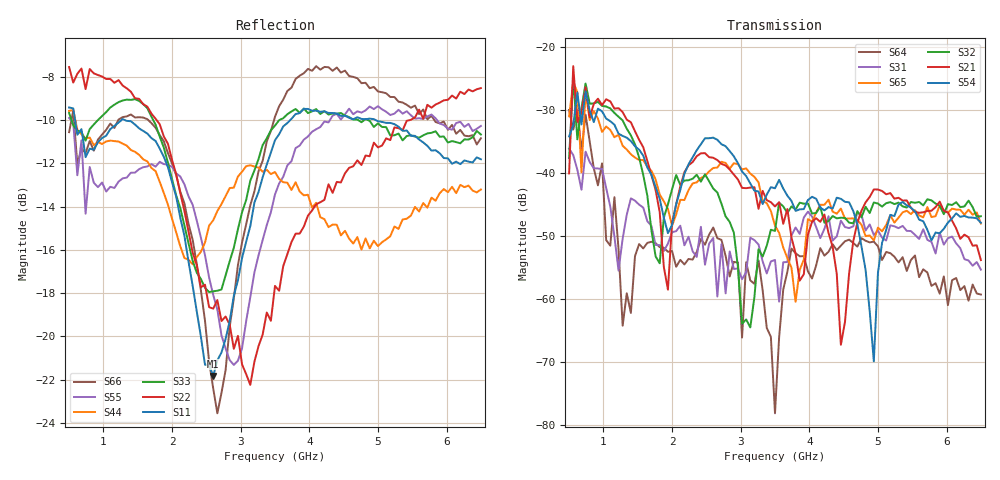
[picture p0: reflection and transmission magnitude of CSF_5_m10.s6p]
!Keysight Technologies,M9804A,MY58100912,A.14.10.03
!Date: Thursday, April 27, 2023 10:28:33
!Correction: S11(C  6-Port  )
!S12(C  6-Port  )
!S13(C  6-Port  )
!S14(C  6-Port  )
!S15(C  6-Port  )
!S16(C  6-Port  )
!S21(C  6-Port  )
!S22(C  6-Port  )
!S23(C  6-Port  )
!S24(C  6-Port  )
!S25(C  6-Port  )
!S26(C  6-Port  )
!S31(C  6-Port  )
!S32(C  6-Port  )
!S33(C  6-Port  )
!S34(C  6-Port  )
!S35(C  6-Port  )
!S36(C  6-Port  )
!S41(C  6-Port  )
!S42(C  6-Port  )
!S43(C  6-Port  )
!S44(C  6-Port  )
!S45(C  6-Port  )
!S46(C  6-Port  )
!S51(C  6-Port  )
!S52(C  6-Port  )
!S53(C  6-Port  )
!S54(C  6-Port  )
!S55(C  6-Port  )
!S56(C  6-Port  )
!S61(C  6-Port  )
!S62(C  6-Port  )
!S63(C  6-Port  )
!S64(C  6-Port  )
!S65(C  6-Port  )
!S66(C  6-Port  )
!S6P File: Measurement: :
# Hz S  RI  R 50
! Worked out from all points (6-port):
!   101 points, 500 MHz to 6.5 GHz, reference 50 ohm
!   strongest paths, dB at 500 MHz, 2 GHz, 3.5 GHz, 5 GHz, 6.5 GHz:
!     S54: -34.2, -48.2, -42.4, -55.9, -47.9
!     S21: -40.1, -47.9, -45.3, -42.6, -53.8
!     S32: -37.6, -42.6, -49.2, -44.9, -46.9
!     S65: -31.0, -48.4, -48.3, -48.7, -48.0
!     S31: -36.1, -49.4, -53.8, -49.1, -55.3
!     S64: -30.0, -52.4, -78.1, -51.6, -59.3
!   lowest |S11| = -21.8 dB at 2.6 GHz (marker M1), VSWR 1.18, Z = 42.7 + j1.95 ohm
!   |S11| at or under -10 dB: 586.4 MHz to 1.264 GHz (678 MHz wide, 73.3 % of centre); 1.311 GHz to 3.723 GHz (2.413 GHz wide, 95.9 % of centre); 4.965 GHz to end of sweep
